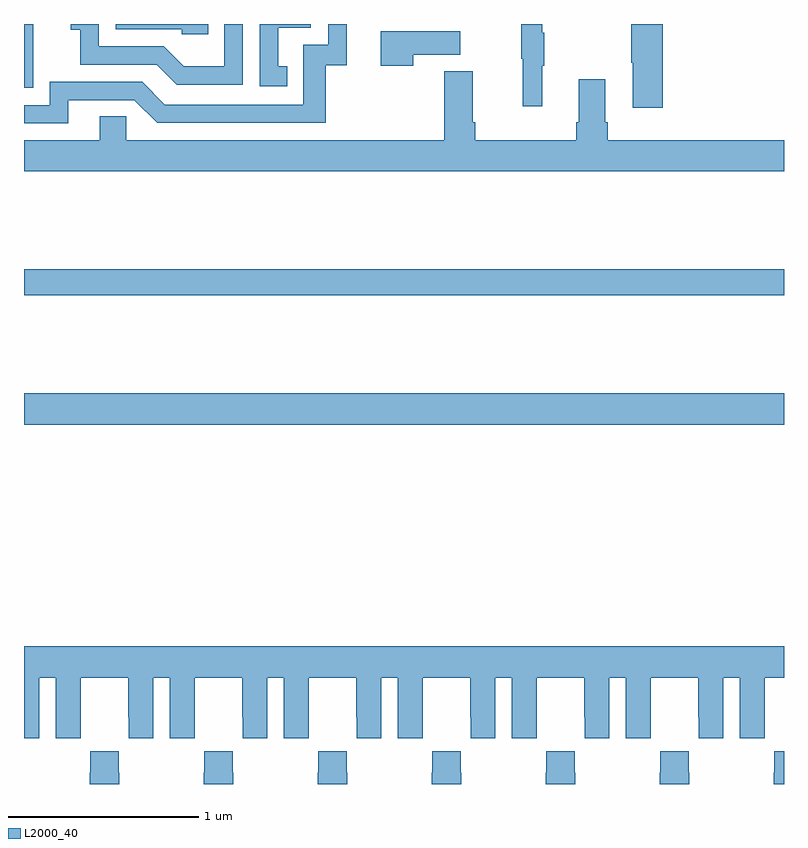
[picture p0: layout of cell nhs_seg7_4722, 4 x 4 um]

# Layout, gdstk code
import gdstk
lib = gdstk.Library(unit=1e-6, precision=1e-09)
def R(c, l, rs):  # rectangles x0, y0, x1, y1
    for r in rs: c.add(gdstk.rectangle(r[:2], r[2:], *l))
def P(c, l, *ps):  # polygons
    for p in ps: c.add(gdstk.Polygon(p, *l))
L2000_40 = (2000, 40)

nhs_seg7_4722 = lib.new_cell('nhs_seg7_4722')
R(nhs_seg7_4722, L2000_40, [(407,1057.892,411,1058.056), (407,1058.572,411,1058.708)])
P(nhs_seg7_4722, L2000_40, [(409.727,1059.779),(409.738,1059.779),(409.738,1059.953),(409.727,1059.953),(409.727,1060),(409.617,1060),(409.617,1059.816),(409.624,1059.816),(409.624,1059.567),(409.727,1059.567)],
  [(410.363,1060),(410.197,1060),(410.197,1059.796),(410.204,1059.796),(410.204,1059.558),(410.363,1059.558)],
  [(407.233,1059.6),(407.58,1059.6),(407.7,1059.48),(408.587,1059.48),(408.587,1059.783),(408.698,1059.783),(408.698,1060),(408.6,1060),(408.6,1059.891),(408.471,1059.891),(408.471,1059.576),(407.742,1059.576),(407.622,1059.696),(407.136,1059.696),(407.136,1059.573),(407,1059.573),(407,1059.477),(407.233,1059.477)],
  [(408.15,1060),(408.054,1060),(408.054,1059.778),(407.84,1059.778),(407.736,1059.882),(407.394,1059.882),(407.394,1060),(407.247,1060),(407.247,1059.971),(407.296,1059.971),(407.296,1059.786),(407.699,1059.786),(407.804,1059.681),(408.15,1059.681)],
  [(407.969,1060),(407.484,1060),(407.484,1059.972),(407.829,1059.972),(407.829,1059.945),(407.969,1059.945)],
  [(407.049,1059.871),(407.048,1059.871),(407.048,1060),(407,1060),(407,1059.665),(407.049,1059.665)],
  [(408.386,1059.777),(408.337,1059.777),(408.337,1059.981),(408.51,1059.981),(408.51,1060),(408.24,1060),(408.24,1059.672),(408.386,1059.672)],
  [(409.049,1059.839),(409.297,1059.839),(409.297,1059.961),(408.878,1059.961),(408.878,1059.78),(409.049,1059.78)],
  [(411,1059.388),(410.072,1059.388),(410.072,1059.484),(410.059,1059.484),(410.059,1059.709),(409.919,1059.709),(409.919,1059.484),(409.907,1059.484),(409.907,1059.388),(409.376,1059.388),(409.376,1059.484),(409.363,1059.484),(409.363,1059.751),(409.211,1059.751),(409.211,1059.388),(407.538,1059.388),(407.538,1059.515),(407.399,1059.515),(407.399,1059.388),(407,1059.388),(407,1059.224),(411,1059.224)],
  [(407,1056.24),(407.08,1056.24),(407.08,1056.56),(407.168,1056.56),(407.168,1056.24),(407.298,1056.24),(407.298,1056.352),(407.299,1056.352),(407.299,1056.56),(407.549,1056.56),(407.549,1056.352),(407.55,1056.352),(407.55,1056.24),(407.68,1056.24),(407.68,1056.56),(407.768,1056.56),(407.768,1056.24),(407.898,1056.24),(407.898,1056.352),(407.899,1056.352),(407.899,1056.56),(408.149,1056.56),(408.149,1056.352),(408.15,1056.352),(408.15,1056.24),(408.28,1056.24),(408.28,1056.56),(408.368,1056.56),(408.368,1056.24),(408.498,1056.24),(408.498,1056.352),(408.499,1056.352),(408.499,1056.56),(408.749,1056.56),(408.749,1056.352),(408.75,1056.352),(408.75,1056.24),(408.88,1056.24),(408.88,1056.56),(408.968,1056.56),(408.968,1056.24),(409.098,1056.24),(409.098,1056.352),(409.099,1056.352),(409.099,1056.56),(409.349,1056.56),(409.349,1056.352),(409.35,1056.352),(409.35,1056.24),(409.48,1056.24),(409.48,1056.56),(409.568,1056.56),(409.568,1056.24),(409.698,1056.24),(409.698,1056.352),(409.699,1056.352),(409.699,1056.56),(409.949,1056.56),(409.949,1056.352),(409.95,1056.352),(409.95,1056.24),(410.08,1056.24),(410.08,1056.56),(410.168,1056.56),(410.168,1056.24),(410.298,1056.24),(410.298,1056.352),(410.299,1056.352),(410.299,1056.56),(410.549,1056.56),(410.549,1056.352),(410.55,1056.352),(410.55,1056.24),(410.68,1056.24),(410.68,1056.56),(410.768,1056.56),(410.768,1056.24),(410.898,1056.24),(410.898,1056.352),(410.899,1056.352),(410.899,1056.56),(411,1056.56),(411,1056.724),(407,1056.724)],
  [(411,1056.172),(410.949,1056.172),(410.949,1056.059),(410.947,1056.059),(410.947,1056),(411,1056)],
  [(408.102,1056.059),(408.099,1056.059),(408.099,1056.172),(407.949,1056.172),(407.949,1056.059),(407.947,1056.059),(407.947,1056),(408.102,1056)],
  [(407.502,1056.059),(407.499,1056.059),(407.499,1056.172),(407.349,1056.172),(407.349,1056.059),(407.347,1056.059),(407.347,1056),(407.502,1056)],
  [(410.502,1056.059),(410.499,1056.059),(410.499,1056.172),(410.349,1056.172),(410.349,1056.059),(410.347,1056.059),(410.347,1056),(410.502,1056)],
  [(408.702,1056.059),(408.699,1056.059),(408.699,1056.172),(408.549,1056.172),(408.549,1056.059),(408.547,1056.059),(408.547,1056),(408.702,1056)],
  [(409.302,1056.059),(409.299,1056.059),(409.299,1056.172),(409.149,1056.172),(409.149,1056.059),(409.147,1056.059),(409.147,1056),(409.302,1056)],
  [(409.902,1056.059),(409.899,1056.059),(409.899,1056.172),(409.749,1056.172),(409.749,1056.059),(409.747,1056.059),(409.747,1056),(409.902,1056)])

lib.write_gds('nhs_seg7_4722.gds')
